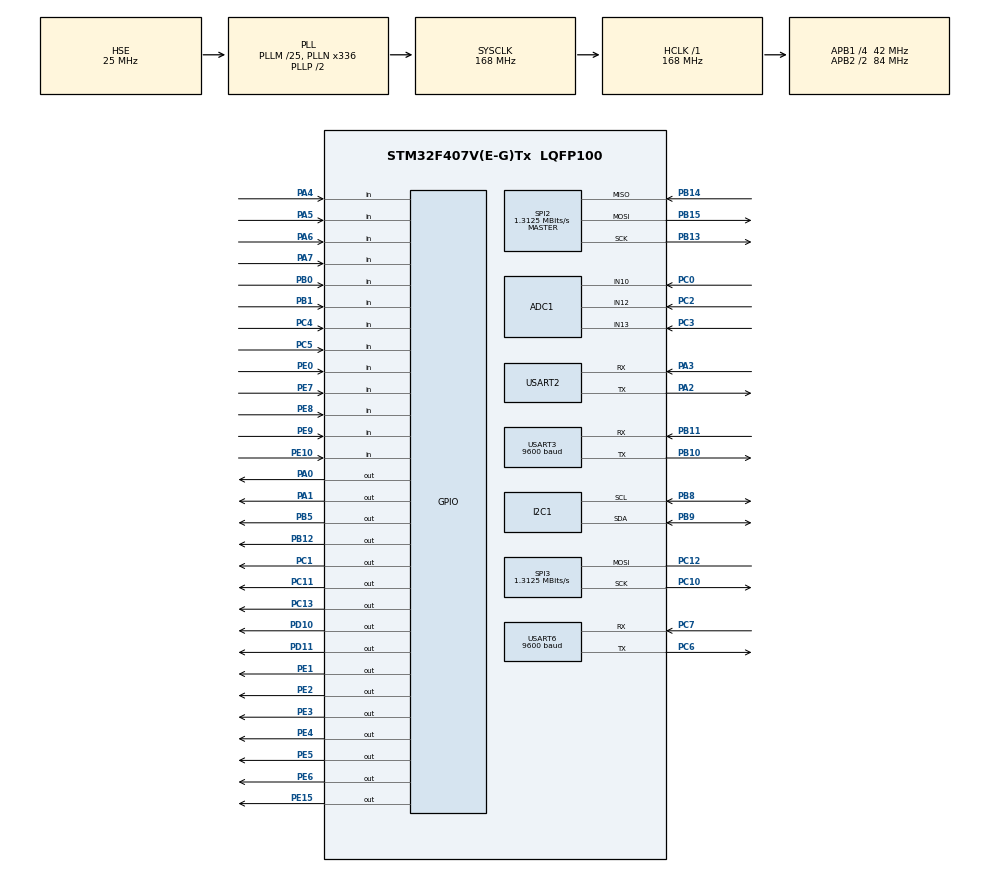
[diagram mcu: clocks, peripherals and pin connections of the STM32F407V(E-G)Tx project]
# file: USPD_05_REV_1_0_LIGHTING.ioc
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ADC1.Channel-0\#ChannelRegularConversion=ADC_CHANNEL_10
ADC1.Channel-1\#ChannelRegularConversion=ADC_CHANNEL_12
ADC1.Channel-2\#ChannelRegularConversion=ADC_CHANNEL_13
ADC1.NbrOfConversion=3
ADC1.NbrOfConversionFlag=1
ADC1.Rank-0\#ChannelRegularConversion=1
ADC1.Rank-1\#ChannelRegularConversion=2
ADC1.Rank-2\#ChannelRegularConversion=3
ADC1.SamplingTime-0\#ChannelRegularConversion=ADC_SAMPLETIME_3CYCLES
ADC1.SamplingTime-1\#ChannelRegularConversion=ADC_SAMPLETIME_3CYCLES
ADC1.SamplingTime-2\#ChannelRegularConversion=ADC_SAMPLETIME_3CYCLES
ADC1.ScanConvMode=ENABLE
ADC1.master=1
Dma.ADC1.4.Direction=DMA_PERIPH_TO_MEMORY
Dma.ADC1.4.FIFOMode=DMA_FIFOMODE_DISABLE
Dma.ADC1.4.Instance=DMA2_Stream0
Dma.ADC1.4.MemDataAlignment=DMA_MDATAALIGN_HALFWORD
Dma.ADC1.4.MemInc=DMA_MINC_ENABLE
Dma.ADC1.4.Mode=DMA_NORMAL
Dma.ADC1.4.PeriphDataAlignment=DMA_PDATAALIGN_HALFWORD
Dma.ADC1.4.PeriphInc=DMA_PINC_DISABLE
Dma.ADC1.4.Priority=DMA_PRIORITY_LOW
Dma.Request0=USART3_TX
Dma.Request1=USART3_RX
Dma.Request2=USART6_TX
Dma.Request3=USART6_RX
Dma.Request4=ADC1
Dma.USART3_RX.1.Direction=DMA_PERIPH_TO_MEMORY
Dma.USART3_RX.1.FIFOMode=DMA_FIFOMODE_DISABLE
Dma.USART3_RX.1.Instance=DMA1_Stream1
Dma.USART3_RX.1.MemDataAlignment=DMA_MDATAALIGN_BYTE
Dma.USART3_RX.1.MemInc=DMA_MINC_ENABLE
Dma.USART3_RX.1.Mode=DMA_NORMAL
Dma.USART3_RX.1.PeriphDataAlignment=DMA_PDATAALIGN_BYTE
Dma.USART3_RX.1.PeriphInc=DMA_PINC_DISABLE
Dma.USART3_RX.1.Priority=DMA_PRIORITY_LOW
Dma.USART3_TX.0.Direction=DMA_MEMORY_TO_PERIPH
Dma.USART3_TX.0.FIFOMode=DMA_FIFOMODE_DISABLE
Dma.USART3_TX.0.Instance=DMA1_Stream3
Dma.USART3_TX.0.MemDataAlignment=DMA_MDATAALIGN_BYTE
Dma.USART3_TX.0.MemInc=DMA_MINC_ENABLE
Dma.USART3_TX.0.Mode=DMA_NORMAL
Dma.USART3_TX.0.PeriphDataAlignment=DMA_PDATAALIGN_BYTE
Dma.USART3_TX.0.PeriphInc=DMA_PINC_DISABLE
Dma.USART3_TX.0.Priority=DMA_PRIORITY_LOW
Dma.USART6_RX.3.Direction=DMA_PERIPH_TO_MEMORY
Dma.USART6_RX.3.FIFOMode=DMA_FIFOMODE_DISABLE
Dma.USART6_RX.3.Instance=DMA2_Stream1
Dma.USART6_RX.3.MemDataAlignment=DMA_MDATAALIGN_BYTE
Dma.USART6_RX.3.MemInc=DMA_MINC_ENABLE
Dma.USART6_RX.3.Mode=DMA_NORMAL
Dma.USART6_RX.3.PeriphDataAlignment=DMA_PDATAALIGN_BYTE
Dma.USART6_RX.3.PeriphInc=DMA_PINC_DISABLE
Dma.USART6_RX.3.Priority=DMA_PRIORITY_LOW
Dma.USART6_TX.2.Direction=DMA_MEMORY_TO_PERIPH
Dma.USART6_TX.2.FIFOMode=DMA_FIFOMODE_DISABLE
Dma.USART6_TX.2.Instance=DMA2_Stream6
Dma.USART6_TX.2.MemDataAlignment=DMA_MDATAALIGN_BYTE
Dma.USART6_TX.2.MemInc=DMA_MINC_ENABLE
Dma.USART6_TX.2.Mode=DMA_NORMAL
Dma.USART6_TX.2.PeriphDataAlignment=DMA_PDATAALIGN_BYTE
Dma.USART6_TX.2.PeriphInc=DMA_PINC_DISABLE
Dma.USART6_TX.2.Priority=DMA_PRIORITY_LOW
FREERTOS.INCLUDE_vTaskCleanUpResources=1
FREERTOS.INCLUDE_vTaskDelayUntil=1
FREERTOS.INCLUDE_xQueueGetMutexHolder=1
FREERTOS.INCLUDE_xSemaphoreGetMutexHolder=1
FREERTOS.Tasks01=defaultTask,0,128,StartDefaultTask,Default,NULL,Dynamic,NULL,NULL
FREERTOS.configTIMER_TASK_PRIORITY=5
FREERTOS.configTOTAL_HEAP_SIZE=30000
FREERTOS.configUSE_NEWLIB_REENTRANT=1
FREERTOS.configUSE_TIMERS=1
IWDG.Prescaler=IWDG_PRESCALER_32
IWDG.Reload=4000
Mcu.Family=STM32F4
Mcu.Name=STM32F407V(E-G)Tx
Mcu.Package=LQFP100
NVIC.ADC_IRQn=true\:5\:0\:false\:false\:true\:true\:true\:true\:true
NVIC.DMA1_Stream1_IRQn=true\:5\:0\:false\:false\:true\:true\:false\:true\:true
NVIC.DMA1_Stream3_IRQn=true\:5\:0\:false\:false\:true\:true\:false\:true\:true
NVIC.DMA2_Stream0_IRQn=true\:5\:0\:false\:false\:true\:true\:false\:true\:true
NVIC.DMA2_Stream1_IRQn=true\:5\:0\:false\:false\:true\:true\:false\:true\:true
NVIC.DMA2_Stream6_IRQn=true\:5\:0\:false\:false\:true\:true\:false\:true\:true
NVIC.PriorityGroup=NVIC_PRIORITYGROUP_4
NVIC.TIM1_UP_TIM10_IRQn=true\:15\:0\:false\:false\:true\:false\:false\:true\:true
NVIC.TIM2_IRQn=true\:5\:0\:false\:false\:true\:true\:true\:true\:true
NVIC.TIM3_IRQn=true\:5\:0\:false\:false\:true\:true\:true\:true\:true
NVIC.TimeBase=TIM1_UP_TIM10_IRQn
NVIC.TimeBaseIP=TIM1
NVIC.USART3_IRQn=true\:5\:0\:false\:false\:true\:true\:true\:true\:true
NVIC.USART6_IRQn=true\:5\:0\:false\:false\:true\:true\:true\:true\:true
PA0-WKUP.Signal=GPIO_Output
PA1.Signal=GPIO_Output
PA13.Mode=Serial_Wire
PA13.Signal=SYS_JTMS-SWDIO
PA14.Mode=Serial_Wire
PA14.Signal=SYS_JTCK-SWCLK
PA2.Mode=Asynchronous
PA2.Signal=USART2_TX
PA3.Mode=Asynchronous
PA3.Signal=USART2_RX
PA4.Signal=GPIO_Input
PA5.Signal=GPIO_Input
PA6.Signal=GPIO_Input
PA7.Signal=GPIO_Input
PB0.Signal=GPIO_Input
PB1.Signal=GPIO_Input
PB10.Mode=Asynchronous
PB10.Signal=USART3_TX
PB11.Mode=Asynchronous
PB11.Signal=USART3_RX
PB12.Signal=GPIO_Output
PB13.Mode=Full_Duplex_Master
PB13.Signal=SPI2_SCK
PB14.Mode=Full_Duplex_Master
PB14.Signal=SPI2_MISO
PB15.Mode=Full_Duplex_Master
PB15.Signal=SPI2_MOSI
PB5.Signal=GPIO_Output
PB8.Mode=I2C
PB8.Signal=I2C1_SCL
PB9.Mode=I2C
PB9.Signal=I2C1_SDA
PC0.Signal=ADCx_IN10
PC1.Signal=GPIO_Output
PC10.Mode=Simplex_Bidirectional_Master
PC10.Signal=SPI3_SCK
PC11.PinState=GPIO_PIN_SET
PC11.Signal=GPIO_Output
PC12.Mode=Simplex_Bidirectional_Master
PC12.Signal=SPI3_MOSI
PC13-ANTI_TAMP.Signal=GPIO_Output
PC14-OSC32_IN.Mode=LSE-External-Oscillator
PC14-OSC32_IN.Signal=RCC_OSC32_IN
PC15-OSC32_OUT.Mode=LSE-External-Oscillator
PC15-OSC32_OUT.Signal=RCC_OSC32_OUT
PC2.Signal=ADCx_IN12
PC3.Signal=ADCx_IN13
PC4.Signal=GPIO_Input
PC5.Signal=GPIO_Input
PC6.Mode=Asynchronous
PC6.Signal=USART6_TX
PC7.Mode=Asynchronous
PC7.Signal=USART6_RX
PD10.GPIO_PuPd=GPIO_PULLDOWN
PD10.Signal=GPIO_Output
PD11.GPIO_PuPd=GPIO_PULLDOWN
PD11.Signal=GPIO_Output
PE0.Signal=GPIO_Input
PE1.Signal=GPIO_Output
PE10.Signal=GPIO_Input
PE15.Signal=GPIO_Output
PE2.Signal=GPIO_Output
PE3.Signal=GPIO_Output
PE4.Signal=GPIO_Output
PE5.Signal=GPIO_Output
PE6.Signal=GPIO_Output
PE7.Signal=GPIO_Input
PE8.Signal=GPIO_Input
PE9.Signal=GPIO_Input
PH0-OSC_IN.Mode=HSE-External-Oscillator
PH0-OSC_IN.Signal=RCC_OSC_IN
PH1-OSC_OUT.Mode=HSE-External-Oscillator
PH1-OSC_OUT.Signal=RCC_OSC_OUT
ProjectManager.HeapSize=0x200
ProjectManager.StackSize=0x400
ProjectManager.TargetToolchain=STM32CubeIDE
RCC.48MHZClocksFreq_Value=84000000
RCC.AHBFreq_Value=168000000
RCC.APB1CLKDivider=RCC_HCLK_DIV4
RCC.APB1Freq_Value=42000000
RCC.APB1TimFreq_Value=84000000
RCC.APB2CLKDivider=RCC_HCLK_DIV2
RCC.APB2Freq_Value=84000000
RCC.APB2TimFreq_Value=168000000
RCC.CortexFreq_Value=168000000
RCC.HCLKFreq_Value=168000000
RCC.HSE_VALUE=25000000
RCC.HSI_VALUE=16000000
RCC.PLLM=25
RCC.PLLN=336
RCC.PLLSourceVirtual=RCC_PLLSOURCE_HSE
RCC.RCC_RTC_Clock_Source=RCC_RTCCLKSOURCE_LSE
RCC.SYSCLKFreq_VALUE=168000000
RCC.SYSCLKSource=RCC_SYSCLKSOURCE_PLLCLK
RCC.VCOOutputFreq_Value=336000000
SH.ADCx_IN10.0=ADC1_IN10,IN10
SH.ADCx_IN12.0=ADC1_IN12,IN12
SH.ADCx_IN13.0=ADC1_IN13,IN13
SPI2.BaudRatePrescaler=SPI_BAUDRATEPRESCALER_32
SPI2.CalculateBaudRate=1.3125 MBits/s
SPI2.Direction=SPI_DIRECTION_2LINES
SPI2.Mode=SPI_MODE_MASTER
SPI2.VirtualType=VM_MASTER
SPI3.BaudRatePrescaler=SPI_BAUDRATEPRESCALER_32
SPI3.CalculateBaudRate=1.3125 MBits/s
SPI3.Direction=SPI_DIRECTION_1LINE
SPI3.Mode=SPI_MODE_MASTER
SPI3.VirtualType=VM_MASTER
TIM2.Period=999
TIM2.Prescaler=83
TIM3.Period=8399
USART2.VirtualMode=VM_ASYNC
USART3.BaudRate=9600
USART3.VirtualMode=VM_ASYNC
USART6.BaudRate=9600
USART6.Parity=PARITY_EVEN
USART6.VirtualMode=VM_ASYNC
VP_FREERTOS_VS_CMSIS_V1.Mode=CMSIS_V1
VP_IWDG_VS_IWDG.Mode=IWDG_Activate
VP_RTC_VS_RTC_Activate.Mode=RTC_Enabled
VP_RTC_VS_RTC_Calendar.Mode=RTC_Calendar
VP_SYS_VS_tim1.Mode=TIM1
VP_TIM2_VS_ClockSourceINT.Mode=Internal
VP_TIM3_VS_ClockSourceINT.Mode=Internal
board=custom

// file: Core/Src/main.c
/* USER CODE BEGIN Header */
/**
  ******************************************************************************
  * @file           : main.c
  * @brief          : Main program body
  ******************************************************************************
  * @attention
  *
  * Copyright (c) 2024 STMicroelectronics.
  * All rights reserved.
  *
  * This software is licensed under terms that can be found in the LICENSE file
  * in the root directory of this software component.
  * If no LICENSE file comes with this software, it is provided AS-IS.
  *
  ******************************************************************************
  */
/* USER CODE END Header */
#include "main.h"
#include "cmsis_os.h"

/* USER CODE BEGIN Includes */

#include "gpio.h"
#include "m95.h"
#include "tsl2561.h"
#include "modbus.h"
#include "fm25v02.h"
#include "da04_11gwa.h"

/* USER CODE END Includes */

 ADC_HandleTypeDef hadc1;
DMA_HandleTypeDef hdma_adc1;

I2C_HandleTypeDef hi2c1;

IWDG_HandleTypeDef hiwdg;

RTC_HandleTypeDef hrtc;

SPI_HandleTypeDef hspi2;
SPI_HandleTypeDef hspi3;

TIM_HandleTypeDef htim2;
TIM_HandleTypeDef htim3;

UART_HandleTypeDef huart2;
UART_HandleTypeDef huart3;
UART_HandleTypeDef huart6;
DMA_HandleTypeDef hdma_usart3_tx;
DMA_HandleTypeDef hdma_usart3_rx;
DMA_HandleTypeDef hdma_usart6_tx;
DMA_HandleTypeDef hdma_usart6_rx;

osThreadId defaultTaskHandle;
/* USER CODE BEGIN PV */

osMessageQId ModbusQueueHandle;
osMessageQId MeterQueueHandle;

osTimerId AT_TimerHandle;
osTimerId Ring_Center_TimerHandle;

osMutexId UartMutexHandle;
osMutexId Fm25v02MutexHandle;

osSemaphoreId TransmissionStateHandle;
osSemaphoreId ReceiveStateHandle;
osSemaphoreId RS485TransmissionStateHandle;

osThreadId M95TaskHandle;
osThreadId ModbusTaskHandle;
osThreadId MainTaskHandle;
osThreadId ModbusPacketTaskHandle;
osThreadId ReadRegistersTaskHandle;
osThreadId EventWriteTaskHandle;
osThreadId GetCurrentTaskHandle;
osThreadId MeterTaskHandle;
osThreadId MeterPacketTaskHandle;
osThreadId DisplayTaskHandle;
osThreadId CallRingCenterTaskHandle;

osSemaphoreId ModbusPacketReceiveHandle;
//osSemaphoreId CallRingCenterHandle;

volatile uint8_t security_state = 0x00;
RTC_TimeTypeDef security_time;
RTC_DateTypeDef security_date;

uint8_t flash[20];
uint8_t flash1[20];

uint8_t modem_tx_data[256];
uint8_t modem_rx_data[256];
char modem_rx_buffer[256];
uint8_t modbus_buffer[20][256];
uint8_t modem_rx_number = 0;
uint8_t modbus_buffer_number = 0;

volatile uint8_t read_rx_state;

//extern control_register_struct control_registers;

uint8_t meter_data[256];
uint8_t meter_rx_buffer[256];
uint8_t meter_rx_number = 0;

extern uint16_t data_in[3];
volatile uint32_t cur_data[3] = {0,0,0};
volatile uint16_t cur_counter = 0;
volatile uint32_t cur_a_average;
volatile uint32_t cur_b_average;
volatile uint32_t cur_c_average;
volatile uint32_t cur_a;
volatile uint32_t cur_b;
volatile uint32_t cur_c;

double data_lux;
bool gain=0;        // Gain setting, 0 = X1, 1 = X16;
unsigned char time = 2;
unsigned int ms;
unsigned int data0, data2;
double lux;    // Resulting lux value

extern control_register_struct control_registers;

volatile uint16_t key1_state = 0;
volatile uint8_t key1_on_state = 0;
volatile uint8_t key1_press_state = 0;

volatile uint16_t key2_state = 0;
volatile uint8_t key2_on_state = 0;
volatile uint8_t key2_press_state = 0;

volatile uint16_t key3_state = 0;
volatile uint8_t key3_on_state = 0;
volatile uint8_t key3_press_state = 0;

volatile uint16_t key4_state = 0;
volatile uint8_t key4_on_state = 0;
volatile uint8_t key4_press_state = 0;

volatile uint16_t key_speed = 0;
volatile uint16_t key_delay = 200;

volatile uint8_t key1_off_state = 0;
volatile uint8_t key2_off_state = 0;

volatile uint16_t reset_display_time_state = 30001;

extern volatile uint8_t control_register_increment_state;
extern volatile uint8_t control_register_decrement_state;
extern volatile uint8_t control_register_save_state;

extern volatile uint16_t register_menu_state;
extern volatile uint16_t register_content_menu_state;

extern uint8_t spi_buf[4];

/* USER CODE END PV */

void SystemClock_Config(void);
static void MX_GPIO_Init(void);
static void MX_IWDG_Init(void);
static void MX_DMA_Init(void);
static void MX_SPI2_Init(void);
static void MX_USART2_UART_Init(void);
static void MX_USART3_UART_Init(void);
static void MX_RTC_Init(void);
static void MX_USART6_UART_Init(void);
static void MX_I2C1_Init(void);
static void MX_SPI3_Init(void);
static void MX_ADC1_Init(void);
static void MX_TIM2_Init(void);
static void MX_TIM3_Init(void);
void StartDefaultTask(void const * argument);

/* USER CODE BEGIN PFP */

void Callback_AT_Timer(void const * argument);
void Callback_Ring_Center_Timer(void const * argument);

void ThreadIbuttonTask(void const * argument);
void ThreadSecurityTask(void const * argument);
void ThreadM95Task(void const * argument);
void ThreadModbusTask(void const * argument);
void ThreadMainTask(void const * argument);
void ThreadModbusPacketTask(void const * argument);
void ThreadCallRingCenterTask(void const * argument);
void ThreadLedTask(void const * argument);
void ThreadArmingTask(void const * argument);
void ThreadReadRegistersTask(void const * argument);
void ThreadEventWriteTask(void const * argument);
void ThreadGetCurrentTask(void const * argument);
void ThreadMeterTask(void const * argument);
void ThreadMeterPacketTask(void const * argument);
void ThreadDisplayTask(void const * argument);

/* USER CODE END PFP */

/* USER CODE BEGIN 0 */

void HAL_UART_TxCpltCallback(UART_HandleTypeDef *huart)
{
	  if (huart->Instance == USART3)
	  {
		  osSemaphoreRelease(TransmissionStateHandle);
	  }

	  if (huart->Instance == USART6)
	  {
		  //LED8_TOGGLE();
		  osSemaphoreRelease(RS485TransmissionStateHandle);
		  HAL_GPIO_WritePin(GPIOG, GPIO_PIN_10, GPIO_PIN_RESET); // устанавливаем микросхему на прием
		  HAL_UART_Receive_DMA(&huart6, &meter_data[0], 1); // включаем прием со счетчика

	  }

}

void HAL_UART_RxCpltCallback(UART_HandleTypeDef *huart)
{

	  if (huart->Instance == USART3)
	  {
		  //LED_VD5_TOGGLE();
		  modem_rx_buffer[modem_rx_number++] = modem_rx_data[0];
		  osMessagePut(ModbusQueueHandle, (uint32_t)modem_rx_data[0], 2000);
		  HAL_UART_Receive_DMA(&huart3, &modem_rx_data[0], 1);
	  }

	  if (huart->Instance == USART6)
	  {
		  //LED7_TOGGLE();
		  meter_data[0] = meter_data[0]&0x7F;
		  meter_rx_buffer[meter_rx_number++] = meter_data[0];
		  HAL_GPIO_WritePin(GPIOG, GPIO_PIN_10, GPIO_PIN_RESET); // устанавливаем микросхему на прием
		  HAL_UART_Receive_DMA(&huart6, &meter_data[0], 1); // включаем прием со счетчика

		  //if(meter_rx_number>10){meter_rx_number=0;}

	  }

}

void HAL_ADC_ConvCpltCallback(ADC_HandleTypeDef* hadc)
{
  if(hadc->Instance == ADC1)
  {
	//LED_VD5_TOGGLE();

	cur_data[0] = cur_data[0] + data_in[0];
	cur_data[1] = cur_data[1] + data_in[1];
	cur_data[2] = cur_data[2] + data_in[2];

	cur_counter++;

	if(cur_counter>=100)
	{
		cur_counter=0;

		cur_a_average = cur_data[0]/100;
		cur_b_average = cur_data[1]/100;
		cur_c_average = cur_data[2]/100;

		cur_data[0] = 0;
		cur_data[1] = 0;
		cur_data[2] = 0;

		cur_a = cur_a_average*283/4095; // 283 1300
		cur_b = cur_b_average*283/4095; // 283 1300
		cur_c = cur_c_average*283/4095; // 283 1300

	}

	//osThreadResume(GetCurrentTaskHandle);
    //for (uint8_t i = 0; i < ADC_CHANNELS_NUM; i++)
    //{
      //adcVoltage[i] = adcData[i] * 3.3 / 4095;
    //}
  }
}

/* USER CODE END 0 */

int main(void)
{

  /* MCU Configuration--------------------------------------------------------*/

  /* Reset of all peripherals, Initializes the Flash interface and the Systick. */
  HAL_Init();

  /* Configure the system clock */
  SystemClock_Config();

  /* Initialize all configured peripherals */
  MX_GPIO_Init();
  MX_IWDG_Init();
  MX_DMA_Init();
  MX_SPI2_Init();
  MX_USART2_UART_Init();
  MX_USART3_UART_Init();
  MX_RTC_Init();
  MX_USART6_UART_Init();
  MX_I2C1_Init();
  MX_SPI3_Init();
  MX_ADC1_Init();
  MX_TIM2_Init();
  MX_TIM3_Init();
  /* USER CODE BEGIN 2 */

  BUZ_ON();
  HAL_Delay(50);
  BUZ_OFF();

  if( ((RCC->BDCR)&0x02) != 0 ) // Проверяем, запустился ли часовой кварц, если запустился включаем светодиод
  {
	  LED_VD4_ON();
  }
  else
  {
	  LED_VD4_OFF();
  }

  TSL2561_setTiming_ms(gain, time,&ms);
  TSL2561_setPowerUp();

  /* USER CODE END 2 */

  /* USER CODE BEGIN RTOS_MUTEX */
  /* add mutexes, ... */

  osMutexDef(UartMutex);
  UartMutexHandle = osMutexCreate(osMutex(UartMutex));

  osMutexDef(Fm25v02Mutex);
  Fm25v02MutexHandle = osMutexCreate(osMutex(Fm25v02Mutex));

  /* USER CODE END RTOS_MUTEX */

  /* USER CODE BEGIN RTOS_SEMAPHORES */
  /* add semaphores, ... */

  osSemaphoreDef(TransmissionState);
  TransmissionStateHandle = osSemaphoreCreate(osSemaphore(TransmissionState), 1);

  osSemaphoreDef(ReceiveState);
  ReceiveStateHandle = osSemaphoreCreate(osSemaphore(ReceiveState), 1);

  osSemaphoreDef(RS485TransmissionState);
  RS485TransmissionStateHandle = osSemaphoreCreate(osSemaphore(RS485TransmissionState), 1);

  osSemaphoreDef(ModbusPacketReceive);
  ModbusPacketReceiveHandle = osSemaphoreCreate(osSemaphore(ModbusPacketReceive), 1);

  /* USER CODE END RTOS_SEMAPHORES */

  /* USER CODE BEGIN RTOS_TIMERS */
  /* start timers, add new ones, ... */

  osTimerDef(AT_Timer, Callback_AT_Timer);
  AT_TimerHandle = osTimerCreate(osTimer(AT_Timer), osTimerOnce, NULL);

  osTimerDef(Ring_Center_Timer, Callback_Ring_Center_Timer);
  Ring_Center_TimerHandle = osTimerCreate(osTimer(Ring_Center_Timer), osTimerOnce, NULL);

  /* USER CODE END RTOS_TIMERS */

  /* USER CODE BEGIN RTOS_QUEUES */
  /* add queues, ... */

  osMessageQDef(ModbusQueue, 256, uint8_t);
  ModbusQueueHandle = osMessageCreate(osMessageQ(ModbusQueue), NULL);

  osMessageQDef(MeterQueue, 256, uint8_t);
  MeterQueueHandle = osMessageCreate(osMessageQ(MeterQueue), NULL);

  /* USER CODE END RTOS_QUEUES */

  /* Create the thread(s) */
  /* definition and creation of defaultTask */
  osThreadDef(defaultTask, StartDefaultTask, osPriorityNormal, 0, 128);
  defaultTaskHandle = osThreadCreate(osThread(defaultTask), NULL);

  /* USER CODE BEGIN RTOS_THREADS */
  /* add threads, ... */

  osThreadDef(M95Task, ThreadM95Task, osPriorityNormal, 0, 128);
  M95TaskHandle = osThreadCreate(osThread(M95Task), NULL);

  osThreadDef(ModbusTask, ThreadModbusTask, osPriorityNormal, 0, 128);
  ModbusTaskHandle = osThreadCreate(osThread(ModbusTask), NULL);

  osThreadDef(MainTask, ThreadMainTask, osPriorityNormal, 0, 128);
  MainTaskHandle = osThreadCreate(osThread(MainTask), NULL);

  osThreadDef(ModbusPacketTask, ThreadModbusPacketTask, osPriorityNormal, 0, 128);
  ModbusPacketTaskHandle = osThreadCreate(osThread(ModbusPacketTask), NULL);

  osThreadDef(ReadRegistersTask, ThreadReadRegistersTask, osPriorityNormal, 0, 128);
  ReadRegistersTaskHandle = osThreadCreate(osThread(ReadRegistersTask), NULL);

  osThreadDef(EventWriteTask, ThreadEventWriteTask, osPriorityNormal, 0, 128);
  EventWriteTaskHandle = osThreadCreate(osThread(EventWriteTask), NULL);

  osThreadDef(GetCurrentTask, ThreadGetCurrentTask, osPriorityNormal, 0, 128);
  GetCurrentTaskHandle = osThreadCreate(osThread(GetCurrentTask), NULL);

  osThreadDef(MeterTask, ThreadMeterTask, osPriorityNormal, 0, 128);
  MeterTaskHandle = osThreadCreate(osThread(MeterTask), NULL);

  osThreadDef(DisplayTask, ThreadDisplayTask, osPriorityNormal, 0, 128);
  DisplayTaskHandle = osThreadCreate(osThread(DisplayTask), NULL);

  osThreadDef(CallRingCenterTask, ThreadCallRingCenterTask, osPriorityNormal, 0, 128);
  CallRingCenterTaskHandle = osThreadCreate(osThread(CallRingCenterTask), NULL);

  /* USER CODE END RTOS_THREADS */

  /* Start scheduler */
  osKernelStart();

  /* We should never get here as control is now taken by the scheduler */
  /* Infinite loop */
  while (1)
  {

  }
}

void SystemClock_Config(void)
{
  RCC_OscInitTypeDef RCC_OscInitStruct = {0};
  RCC_ClkInitTypeDef RCC_ClkInitStruct = {0};

  /** Configure the main internal regulator output voltage
  */
  __HAL_RCC_PWR_CLK_ENABLE();
  __HAL_PWR_VOLTAGESCALING_CONFIG(PWR_REGULATOR_VOLTAGE_SCALE1);

  /** Initializes the RCC Oscillators according to the specified parameters
  * in the RCC_OscInitTypeDef structure.
  */
  RCC_OscInitStruct.OscillatorType = RCC_OSCILLATORTYPE_LSI|RCC_OSCILLATORTYPE_HSE
                              |RCC_OSCILLATORTYPE_LSE;
  RCC_OscInitStruct.HSEState = RCC_HSE_ON;
  RCC_OscInitStruct.LSEState = RCC_LSE_ON;
  RCC_OscInitStruct.LSIState = RCC_LSI_ON;
  RCC_OscInitStruct.PLL.PLLState = RCC_PLL_ON;
  RCC_OscInitStruct.PLL.PLLSource = RCC_PLLSOURCE_HSE;
  RCC_OscInitStruct.PLL.PLLM = 25;
  RCC_OscInitStruct.PLL.PLLN = 336;
  RCC_OscInitStruct.PLL.PLLP = RCC_PLLP_DIV2;
  RCC_OscInitStruct.PLL.PLLQ = 4;
  if (HAL_RCC_OscConfig(&RCC_OscInitStruct) != HAL_OK)
  {
    Error_Handler();
  }

  /** Initializes the CPU, AHB and APB buses clocks
  */
  RCC_ClkInitStruct.ClockType = RCC_CLOCKTYPE_HCLK|RCC_CLOCKTYPE_SYSCLK
                              |RCC_CLOCKTYPE_PCLK1|RCC_CLOCKTYPE_PCLK2;
  RCC_ClkInitStruct.SYSCLKSource = RCC_SYSCLKSOURCE_PLLCLK;
  RCC_ClkInitStruct.AHBCLKDivider = RCC_SYSCLK_DIV1;
  RCC_ClkInitStruct.APB1CLKDivider = RCC_HCLK_DIV4;
  RCC_ClkInitStruct.APB2CLKDivider = RCC_HCLK_DIV2;

  if (HAL_RCC_ClockConfig(&RCC_ClkInitStruct, FLASH_LATENCY_5) != HAL_OK)
  {
    Error_Handler();
  }
}

static void MX_ADC1_Init(void)
{

  ADC_ChannelConfTypeDef sConfig = {0};

  /** Configure the global features of the ADC (Clock, Resolution, Data Alignment and number of conversion)
  */
  hadc1.Instance = ADC1;
  hadc1.Init.ClockPrescaler = ADC_CLOCK_SYNC_PCLK_DIV4;
  hadc1.Init.Resolution = ADC_RESOLUTION_12B;
  hadc1.Init.ScanConvMode = ENABLE;
  hadc1.Init.ContinuousConvMode = DISABLE;
  hadc1.Init.DiscontinuousConvMode = DISABLE;
  hadc1.Init.ExternalTrigConvEdge = ADC_EXTERNALTRIGCONVEDGE_NONE;
  hadc1.Init.ExternalTrigConv = ADC_SOFTWARE_START;
  hadc1.Init.DataAlign = ADC_DATAALIGN_RIGHT;
  hadc1.Init.NbrOfConversion = 3;
  hadc1.Init.DMAContinuousRequests = DISABLE;
  hadc1.Init.EOCSelection = ADC_EOC_SINGLE_CONV;
  if (HAL_ADC_Init(&hadc1) != HAL_OK)
  {
    Error_Handler();
  }

  /** Configure for the selected ADC regular channel its corresponding rank in the sequencer and its sample time.
  */
  sConfig.Channel = ADC_CHANNEL_10;
  sConfig.Rank = 1;
  sConfig.SamplingTime = ADC_SAMPLETIME_3CYCLES;
  if (HAL_ADC_ConfigChannel(&hadc1, &sConfig) != HAL_OK)
  {
    Error_Handler();
  }

  /** Configure for the selected ADC regular channel its corresponding rank in the sequencer and its sample time.
  */
  sConfig.Channel = ADC_CHANNEL_12;
  sConfig.Rank = 2;
  if (HAL_ADC_ConfigChannel(&hadc1, &sConfig) != HAL_OK)
  {
    Error_Handler();
  }

  /** Configure for the selected ADC regular channel its corresponding rank in the sequencer and its sample time.
  */
  sConfig.Channel = ADC_CHANNEL_13;
  sConfig.Rank = 3;
  if (HAL_ADC_ConfigChannel(&hadc1, &sConfig) != HAL_OK)
  {
    Error_Handler();
  }

}

static void MX_I2C1_Init(void)
{

  hi2c1.Instance = I2C1;
  hi2c1.Init.ClockSpeed = 100000;
  hi2c1.Init.DutyCycle = I2C_DUTYCYCLE_2;
  hi2c1.Init.OwnAddress1 = 0;
  hi2c1.Init.AddressingMode = I2C_ADDRESSINGMODE_7BIT;
  hi2c1.Init.DualAddressMode = I2C_DUALADDRESS_DISABLE;
  hi2c1.Init.OwnAddress2 = 0;
  hi2c1.Init.GeneralCallMode = I2C_GENERALCALL_DISABLE;
  hi2c1.Init.NoStretchMode = I2C_NOSTRETCH_DISABLE;
  if (HAL_I2C_Init(&hi2c1) != HAL_OK)
  {
    Error_Handler();
  }

}

static void MX_IWDG_Init(void)
{

  hiwdg.Instance = IWDG;
  hiwdg.Init.Prescaler = IWDG_PRESCALER_32;
  hiwdg.Init.Reload = 4000;
  //if (HAL_IWDG_Init(&hiwdg) != HAL_OK)
  //{
    //Error_Handler();
  //}

}

static void MX_RTC_Init(void)
{

  RTC_TimeTypeDef sTime = {0};
  RTC_DateTypeDef sDate = {0};

  /** Initialize RTC Only
  */
  hrtc.Instance = RTC;
  hrtc.Init.HourFormat = RTC_HOURFORMAT_24;
  hrtc.Init.AsynchPrediv = 127;
  hrtc.Init.SynchPrediv = 255;
  hrtc.Init.OutPut = RTC_OUTPUT_DISABLE;
  hrtc.Init.OutPutPolarity = RTC_OUTPUT_POLARITY_HIGH;
  hrtc.Init.OutPutType = RTC_OUTPUT_TYPE_OPENDRAIN;
  if (HAL_RTC_Init(&hrtc) != HAL_OK)
  {
    Error_Handler();
  }

  /** Initialize RTC and set the Time and Date
  */
  sTime.Hours = 0x0;
  sTime.Minutes = 0x0;
  sTime.Seconds = 0x0;
  sTime.DayLightSaving = RTC_DAYLIGHTSAVING_NONE;
  sTime.StoreOperation = RTC_STOREOPERATION_RESET;
  //if (HAL_RTC_SetTime(&hrtc, &sTime, RTC_FORMAT_BCD) != HAL_OK)
  //{
    //Error_Handler();
  //}
  sDate.WeekDay = RTC_WEEKDAY_MONDAY;
  sDate.Month = RTC_MONTH_JANUARY;
  sDate.Date = 0x1;
  sDate.Year = 0x0;

  //if (HAL_RTC_SetDate(&hrtc, &sDate, RTC_FORMAT_BCD) != HAL_OK)
  //{
    //Error_Handler();
  //}

}

static void MX_SPI2_Init(void)
{

  /* SPI2 parameter configuration*/
  hspi2.Instance = SPI2;
  hspi2.Init.Mode = SPI_MODE_MASTER;
  hspi2.Init.Direction = SPI_DIRECTION_2LINES;
  hspi2.Init.DataSize = SPI_DATASIZE_8BIT;
  hspi2.Init.CLKPolarity = SPI_POLARITY_LOW;
  hspi2.Init.CLKPhase = SPI_PHASE_1EDGE;
  hspi2.Init.NSS = SPI_NSS_SOFT;
  hspi2.Init.BaudRatePrescaler = SPI_BAUDRATEPRESCALER_32;
  hspi2.Init.FirstBit = SPI_FIRSTBIT_MSB;
  hspi2.Init.TIMode = SPI_TIMODE_DISABLE;
  hspi2.Init.CRCCalculation = SPI_CRCCALCULATION_DISABLE;
  hspi2.Init.CRCPolynomial = 10;
  if (HAL_SPI_Init(&hspi2) != HAL_OK)
  {
    Error_Handler();
  }

}

static void MX_SPI3_Init(void)
{

  /* SPI3 parameter configuration*/
  hspi3.Instance = SPI3;
  hspi3.Init.Mode = SPI_MODE_MASTER;
  hspi3.Init.Direction = SPI_DIRECTION_1LINE;
  hspi3.Init.DataSize = SPI_DATASIZE_8BIT;
  hspi3.Init.CLKPolarity = SPI_POLARITY_LOW;
  hspi3.Init.CLKPhase = SPI_PHASE_1EDGE;
  hspi3.Init.NSS = SPI_NSS_SOFT;
  hspi3.Init.BaudRatePrescaler = SPI_BAUDRATEPRESCALER_32;
  hspi3.Init.FirstBit = SPI_FIRSTBIT_MSB;
  hspi3.Init.TIMode = SPI_TIMODE_DISABLE;
  hspi3.Init.CRCCalculation = SPI_CRCCALCULATION_DISABLE;
  hspi3.Init.CRCPolynomial = 10;
  if (HAL_SPI_Init(&hspi3) != HAL_OK)
  {
    Error_Handler();
  }

}

static void MX_TIM2_Init(void)
{

  TIM_ClockConfigTypeDef sClockSourceConfig = {0};
  TIM_MasterConfigTypeDef sMasterConfig = {0};

  htim2.Instance = TIM2;
  htim2.Init.Prescaler = 83;
  htim2.Init.CounterMode = TIM_COUNTERMODE_UP;
  htim2.Init.Period = 999;
  htim2.Init.ClockDivision = TIM_CLOCKDIVISION_DIV1;
  htim2.Init.AutoReloadPreload = TIM_AUTORELOAD_PRELOAD_DISABLE;
  if (HAL_TIM_Base_Init(&htim2) != HAL_OK)
  {
    Error_Handler();
  }
  sClockSourceConfig.ClockSource = TIM_CLOCKSOURCE_INTERNAL;
  if (HAL_TIM_ConfigClockSource(&htim2, &sClockSourceConfig) != HAL_OK)
  {
    Error_Handler();
  }
  sMasterConfig.MasterOutputTrigger = TIM_TRGO_RESET;
  sMasterConfig.MasterSlaveMode = TIM_MASTERSLAVEMODE_DISABLE;
  if (HAL_TIMEx_MasterConfigSynchronization(&htim2, &sMasterConfig) != HAL_OK)
  {
    Error_Handler();
  }

}

static void MX_TIM3_Init(void)
{

  TIM_ClockConfigTypeDef sClockSourceConfig = {0};
  TIM_MasterConfigTypeDef sMasterConfig = {0};

  htim3.Instance = TIM3;
  htim3.Init.Prescaler = 0;
  htim3.Init.CounterMode = TIM_COUNTERMODE_UP;
  htim3.Init.Period = 8399;
  htim3.Init.ClockDivision = TIM_CLOCKDIVISION_DIV1;
  htim3.Init.AutoReloadPreload = TIM_AUTORELOAD_PRELOAD_DISABLE;
  if (HAL_TIM_Base_Init(&htim3) != HAL_OK)
  {
    Error_Handler();
  }
  sClockSourceConfig.ClockSource = TIM_CLOCKSOURCE_INTERNAL;
  if (HAL_TIM_ConfigClockSource(&htim3, &sClockSourceConfig) != HAL_OK)
  {
    Error_Handler();
  }
  sMasterConfig.MasterOutputTrigger = TIM_TRGO_RESET;
  sMasterConfig.MasterSlaveMode = TIM_MASTERSLAVEMODE_DISABLE;
  if (HAL_TIMEx_MasterConfigSynchronization(&htim3, &sMasterConfig) != HAL_OK)
  {
    Error_Handler();
  }

}

static void MX_USART2_UART_Init(void)
{

  huart2.Instance = USART2;
  huart2.Init.BaudRate = 115200;
  huart2.Init.WordLength = UART_WORDLENGTH_8B;
  huart2.Init.StopBits = UART_STOPBITS_1;
  huart2.Init.Parity = UART_PARITY_NONE;
  huart2.Init.Mode = UART_MODE_TX_RX;
  huart2.Init.HwFlowCtl = UART_HWCONTROL_NONE;
  huart2.Init.OverSampling = UART_OVERSAMPLING_16;
  if (HAL_UART_Init(&huart2) != HAL_OK)
  {
    Error_Handler();
  }

}

static void MX_USART3_UART_Init(void)
{

  huart3.Instance = USART3;
  huart3.Init.BaudRate = 9600;
  huart3.Init.WordLength = UART_WORDLENGTH_8B;
  huart3.Init.StopBits = UART_STOPBITS_1;
  huart3.Init.Parity = UART_PARITY_NONE;
  huart3.Init.Mode = UART_MODE_TX_RX;
  huart3.Init.HwFlowCtl = UART_HWCONTROL_NONE;
  huart3.Init.OverSampling = UART_OVERSAMPLING_16;
  if (HAL_UART_Init(&huart3) != HAL_OK)
  {
    Error_Handler();
  }

}

static void MX_USART6_UART_Init(void)
{

  huart6.Instance = USART6;
  huart6.Init.BaudRate = 9600;
  huart6.Init.WordLength = UART_WORDLENGTH_8B;
  huart6.Init.StopBits = UART_STOPBITS_1;
  huart6.Init.Parity = UART_PARITY_EVEN;
  huart6.Init.Mode = UART_MODE_TX_RX;
  huart6.Init.HwFlowCtl = UART_HWCONTROL_NONE;
  huart6.Init.OverSampling = UART_OVERSAMPLING_16;
  if (HAL_UART_Init(&huart6) != HAL_OK)
  {
    Error_Handler();
  }

}

static void MX_DMA_Init(void)
{

  /* DMA controller clock enable */
  __HAL_RCC_DMA1_CLK_ENABLE();
  __HAL_RCC_DMA2_CLK_ENABLE();

  /* DMA interrupt init */
  /* DMA1_Stream1_IRQn interrupt configuration */
  HAL_NVIC_SetPriority(DMA1_Stream1_IRQn, 5, 0);
  HAL_NVIC_EnableIRQ(DMA1_Stream1_IRQn);
  /* DMA1_Stream3_IRQn interrupt configuration */
  HAL_NVIC_SetPriority(DMA1_Stream3_IRQn, 5, 0);
  HAL_NVIC_EnableIRQ(DMA1_Stream3_IRQn);
  /* DMA2_Stream0_IRQn interrupt configuration */
  HAL_NVIC_SetPriority(DMA2_Stream0_IRQn, 5, 0);
  HAL_NVIC_EnableIRQ(DMA2_Stream0_IRQn);
  /* DMA2_Stream1_IRQn interrupt configuration */
  HAL_NVIC_SetPriority(DMA2_Stream1_IRQn, 5, 0);
  HAL_NVIC_EnableIRQ(DMA2_Stream1_IRQn);
  /* DMA2_Stream6_IRQn interrupt configuration */
  HAL_NVIC_SetPriority(DMA2_Stream6_IRQn, 5, 0);
  HAL_NVIC_EnableIRQ(DMA2_Stream6_IRQn);

}

static void MX_GPIO_Init(void)
{
  GPIO_InitTypeDef GPIO_InitStruct = {0};

  /* GPIO Ports Clock Enable */
  __HAL_RCC_GPIOE_CLK_ENABLE();
  __HAL_RCC_GPIOC_CLK_ENABLE();
  __HAL_RCC_GPIOH_CLK_ENABLE();
  __HAL_RCC_GPIOA_CLK_ENABLE();
  __HAL_RCC_GPIOB_CLK_ENABLE();
  __HAL_RCC_GPIOD_CLK_ENABLE();

  /*Configure GPIO pin Output Level */
  HAL_GPIO_WritePin(GPIOE, GPIO_PIN_2|GPIO_PIN_3|GPIO_PIN_4|GPIO_PIN_5
                          |GPIO_PIN_6|GPIO_PIN_15|GPIO_PIN_1, GPIO_PIN_RESET);

  /*Configure GPIO pin Output Level */
  HAL_GPIO_WritePin(GPIOC, GPIO_PIN_13|GPIO_PIN_1, GPIO_PIN_RESET);

  /*Configure GPIO pin Output Level */
  HAL_GPIO_WritePin(GPIOA, GPIO_PIN_0|GPIO_PIN_1, GPIO_PIN_RESET);

  /*Configure GPIO pin Output Level */
  HAL_GPIO_WritePin(GPIOB, GPIO_PIN_12|GPIO_PIN_5, GPIO_PIN_RESET);

  /*Configure GPIO pin Output Level */
  HAL_GPIO_WritePin(GPIOD, GPIO_PIN_10|GPIO_PIN_11, GPIO_PIN_RESET);

  /*Configure GPIO pin Output Level */
  HAL_GPIO_WritePin(GPIOC, GPIO_PIN_11, GPIO_PIN_SET);

  /*Configure GPIO pins : PE2 PE3 PE4 PE5
                           PE6 PE15 PE1 */
  GPIO_InitStruct.Pin = GPIO_PIN_2|GPIO_PIN_3|GPIO_PIN_4|GPIO_PIN_5
                          |GPIO_PIN_6|GPIO_PIN_15|GPIO_PIN_1;
  GPIO_InitStruct.Mode = GPIO_MODE_OUTPUT_PP;
  GPIO_InitStruct.Pull = GPIO_NOPULL;
  GPIO_InitStruct.Speed = GPIO_SPEED_FREQ_LOW;
  HAL_GPIO_Init(GPIOE, &GPIO_InitStruct);

  /*Configure GPIO pins : PC13 PC1 PC11 */
  GPIO_InitStruct.Pin = GPIO_PIN_13|GPIO_PIN_1|GPIO_PIN_11;
  GPIO_InitStruct.Mode = GPIO_MODE_OUTPUT_PP;
  GPIO_InitStruct.Pull = GPIO_NOPULL;
  GPIO_InitStruct.Speed = GPIO_SPEED_FREQ_LOW;
  HAL_GPIO_Init(GPIOC, &GPIO_InitStruct);

  /*Configure GPIO pins : PA0 PA1 */
  GPIO_InitStruct.Pin = GPIO_PIN_0|GPIO_PIN_1;
  GPIO_InitStruct.Mode = GPIO_MODE_OUTPUT_PP;
  GPIO_InitStruct.Pull = GPIO_NOPULL;
  GPIO_InitStruct.Speed = GPIO_SPEED_FREQ_LOW;
  HAL_GPIO_Init(GPIOA, &GPIO_InitStruct);

  /*Configure GPIO pins : PA4 PA5 PA6 PA7 */
  GPIO_InitStruct.Pin = GPIO_PIN_4|GPIO_PIN_5|GPIO_PIN_6|GPIO_PIN_7;
  GPIO_InitStruct.Mode = GPIO_MODE_INPUT;
  GPIO_InitStruct.Pull = GPIO_NOPULL;
  HAL_GPIO_Init(GPIOA, &GPIO_InitStruct);

  /*Configure GPIO pins : PC4 PC5 */
  GPIO_InitStruct.Pin = GPIO_PIN_4|GPIO_PIN_5;
  GPIO_InitStruct.Mode = GPIO_MODE_INPUT;
  GPIO_InitStruct.Pull = GPIO_NOPULL;
  HAL_GPIO_Init(GPIOC, &GPIO_InitStruct);

  /*Configure GPIO pins : PB0 PB1 */
  GPIO_InitStruct.Pin = GPIO_PIN_0|GPIO_PIN_1;
  GPIO_InitStruct.Mode = GPIO_MODE_INPUT;
  GPIO_InitStruct.Pull = GPIO_NOPULL;
  HAL_GPIO_Init(GPIOB, &GPIO_InitStruct);

  /*Configure GPIO pins : PE7 PE8 PE9 PE10
                           PE0 */
  GPIO_InitStruct.Pin = GPIO_PIN_7|GPIO_PIN_8|GPIO_PIN_9|GPIO_PIN_10
                          |GPIO_PIN_0;
  GPIO_InitStruct.Mode = GPIO_MODE_INPUT;
  GPIO_InitStruct.Pull = GPIO_NOPULL;
  HAL_GPIO_Init(GPIOE, &GPIO_InitStruct);

  /*Configure GPIO pins : PB12 PB5 */
  GPIO_InitStruct.Pin = GPIO_PIN_12|GPIO_PIN_5;
  GPIO_InitStruct.Mode = GPIO_MODE_OUTPUT_PP;
  GPIO_InitStruct.Pull = GPIO_NOPULL;
  GPIO_InitStruct.Speed = GPIO_SPEED_FREQ_LOW;
  HAL_GPIO_Init(GPIOB, &GPIO_InitStruct);

  /*Configure GPIO pins : PD10 PD11 */
  GPIO_InitStruct.Pin = GPIO_PIN_10|GPIO_PIN_11;
  GPIO_InitStruct.Mode = GPIO_MODE_OUTPUT_PP;
  GPIO_InitStruct.Pull = GPIO_PULLDOWN;
  GPIO_InitStruct.Speed = GPIO_SPEED_FREQ_LOW;
  HAL_GPIO_Init(GPIOD, &GPIO_InitStruct);

}

/* USER CODE BEGIN 4 */

void Callback_AT_Timer(void const * argument)
{

	read_rx_state = NOT_ACTIVE;

}

/* Callback_Ring_Center_Timer function */
void Callback_Ring_Center_Timer(void const * argument)
{

	//NVIC_SystemReset();
	m95_power_off();
	osTimerStart(Ring_Center_TimerHandle, 60000);// перезапускаем таймер перезагрузки

}

/* USER CODE END 4 */

void StartDefaultTask(void const * argument)
{
  /* USER CODE BEGIN 5 */
  /* Infinite loop */
  for(;;)
  {

	osMutexWait(Fm25v02MutexHandle, osWaitForever);

	//HAL_IWDG_Refresh(&hiwdg);
	//LED_VD3_TOGGLE();

	osMutexRelease(Fm25v02MutexHandle);

	osDelay(1000);

  }
  /* USER CODE END 5 */
}

void HAL_TIM_PeriodElapsedCallback(TIM_HandleTypeDef *htim)
{
  if (htim->Instance == TIM1) {
    HAL_IncTick();
  }
  /* USER CODE BEGIN Callback 1 */

	if(htim->Instance == TIM3) //check if the interrupt comes from TIM1
	{
		HAL_TIM_Base_Start_IT(&htim3);
		HAL_ADC_Start_DMA(&hadc1, (uint32_t*)data_in, 3);
		//LED_VD5_TOGGLE();

	}

	if(htim->Instance == TIM2)
	{
		TIM2->CNT = 0;

//----программа обработки кнопки 1----------------------------------------------

		if( HAL_GPIO_ReadPin(GPIOE, GPIO_PIN_7) == GPIO_PIN_RESET)
		{
			//spi_buf[0] = 1;
			if(key1_state<key_delay)
			{
				key1_state++;
			}
			else if(key1_state==key_delay)
			{
				key1_state++;
				key1_press_state = 1;

			}

			key1_off_state = 0;

		}
		else
		{

			if( (key1_state>5)&&(key1_state<key_delay) )
			{
				key1_state = 0;
				key1_on_state = 1;

				//key_speed = 0;
				key_delay = 200;
			}
			else if(key1_state>=key_delay)
			{
				key1_state = 0;

				//key_speed = 0;
				key_delay = 200;
			}
			//else if(key1_state == 0)
			//{
				//key_delay = 200;
			//}
			//else if(key1_state>0)
			//{
				//key_delay = 200;
			//}

			if(key1_off_state<20)
			{
				key1_off_state++;
				if(key1_off_state==20)
				{
					key_delay = 200;
				}
			}

		}

		if(key1_on_state == 1) // обработчик короткого нажатия кнопки 1
		{
			key1_on_state = 0; // обнуление состояния короткого нажатия на кнопку 1

			reset_display_time_state = 0;

			if(register_menu_state > 0)
			{
				if(register_content_menu_state == 0)
				{
					register_menu_state--;
					//reset_display_time_state = 0;
				}
				else if(register_content_menu_state == 2)
				{
					control_register_decrement_state = 1;
				}
			}

		}

		if(key1_press_state == 1) // обработчик длительного нажатия кнопки 1
		{
			key1_press_state = 0; // обнуление состояния длинного нажатия на кнопку 1

			reset_display_time_state = 0;

			if(register_menu_state > 0)
			{
				if(register_content_menu_state == 0)
				{
					register_menu_state--;

					if(key_delay>10)
					{
						key_delay = key_delay - 10;
					}

					//register_menu_state = register_menu_state - ( 1+(key_speed/10) );
				}
				else if(register_content_menu_state == 2)
				{
					control_register_decrement_state = 1;

					if(key_delay>5)
					{
						key_delay = key_delay - 5;
					}

				}
			}

			key1_state = 0;

		}

//----------------------------------------------------------------------------------

//----программа обработки кнопки 2----------------------------------------------

		if( HAL_GPIO_ReadPin(GPIOE, GPIO_PIN_8) == GPIO_PIN_RESET)
		{
			//spi_buf[0] = 2;
			if(key2_state<key_delay)
			{

				key2_state++;

			}
			else if(key2_state==key_delay)
			{
				key2_state++;
				key2_press_state = 1;
			}

			key2_off_state = 0;

		}
		else
		{
			if( (key2_state>5)&&(key2_state<key_delay) )
			{
				key2_state = 0;
				key2_on_state = 1;

				//key_speed = 0;
				key_delay = 200;
			}
			else if(key2_state>=key_delay)
			{
				key2_state = 0;

				//key_speed = 0;
				key_delay = 200;
			}
			//else if(key2_state == 0)
			//{
				//key_delay = 200;
			//}
			//else if(key2_state>0)
			//{
				//key_delay = 200;
			//}
			if(key2_off_state<20)
			{
				key2_off_state++;
				if(key2_off_state==20)
				{
					key_delay = 200;
				}
			}

		}

		if(key2_on_state == 1) // обработчик короткого нажатия кнопки 2
		{
			key2_on_state = 0; // обнуление состояния короткого нажатия на кнопку 2

			reset_display_time_state = 0;

			if(register_menu_state < MAX_MENU_NUMBER)
			{
				if(register_content_menu_state == 0)
				{
					register_menu_state++;

				}
				else if(register_content_menu_state == 2)
				{
					control_register_increment_state = 1;
				}
			}

		}
		if(key2_press_state == 1) // обработчик длительного нажатия кнопки 2
		{
			key2_press_state = 0; // обнуление состояния длинного нажатия на кнопку 2

			reset_display_time_state = 0;

			if(register_menu_state < MAX_MENU_NUMBER)
			{
				if(register_content_menu_state == 0)
				{
					register_menu_state++;

					if(key_delay>10)
					{
						key_delay = key_delay - 10;
					}

					//register_menu_state = register_menu_state + ( 1+(key_speed/10) );
				}
				else if(register_content_menu_state == 2)
				{
					control_register_increment_state = 1;

					if(key_delay>5)
					{
						key_delay = key_delay - 5;
					}

				}
			}

			key2_state = 0;
		}

//----------------------------------------------------------------------------------

		//----программа обработки кнопки 3----------------------------------------------

				if( HAL_GPIO_ReadPin(GPIOE, GPIO_PIN_9) == GPIO_PIN_RESET)
				{
					if(key3_state<2000)
					{

						key3_state++;

					}
					else if(key3_state==2000)
					{
						key3_state++;
						key3_press_state = 1;
					}
				}
				else
				{
					if( (key3_state>5)&&(key3_state<2000) )
					{
						key3_state = 0;
						key3_on_state = 1;
					}
					else if(key3_state>=2000)
					{
						key3_state = 0;
					}
				}

				if(key3_on_state == 1) // обработчик короткого нажатия кнопки 3
				{
					key3_on_state = 0; // обнуление состояния короткого нажатия на кнопку 3

					reset_display_time_state = 0;

					if(register_content_menu_state == 1)
					{
						register_content_menu_state--;
						//reset_display_time_state = 0;
					}
				}
				if(key3_press_state == 1) // обработчик длительного нажатия кнопки 3
				{
					key3_press_state = 0; // обнуление состояния длинного нажатия на кнопку 3
				}

		//----------------------------------------------------------------------------------

				//----программа обработки кнопки 4----------------------------------------------

						if( HAL_GPIO_ReadPin(GPIOE, GPIO_PIN_10) == GPIO_PIN_RESET)
						{
							if(key4_state<2000)
							{

								key4_state++;

							}
							else if(key4_state==2000)
							{
								key4_state++;
								key4_press_state = 1;
							}
						}
						else
						{
							if( (key4_state>5)&&(key4_state<2000) )
							{
								key4_state = 0;
								key4_on_state = 1;
							}
							else if(key4_state>=2000)
							{
								key4_state = 0;
							}
						}

						if(key4_on_state == 1) // обработчик короткого нажатия кнопки 4
						{
							key4_on_state = 0; // обнуление состояния короткого нажатия на кнопку 4

							reset_display_time_state = 0;

							if(register_content_menu_state == 0)
							{
								register_content_menu_state++;
								//reset_display_time_state = 0;
							}
						}
						if(key4_press_state == 1) // обработчик длительного нажатия кнопки 4
						{
							key4_press_state = 0; // обнуление состояния длинного нажатия на кнопку 4

							if( (register_content_menu_state == 1) && (register_menu_state >= Y1) && (register_menu_state <= MAX_B_NUMBER) )
							{
								register_content_menu_state = 2;
								//LED_VD4_ON();
							}

							else if( register_content_menu_state == 2 )
							{
								//register_content_menu_state = 1;
								control_register_save_state = 1;
								//LED_VD4_OFF();
							}
						}

				//----------------------------------------------------------------------------------

		if( reset_display_time_state < 30000)
		{
			reset_display_time_state++;
		}

		else if( reset_display_time_state == 30000)
		{
			register_content_menu_state = 0;
			register_menu_state = 0;
			reset_display_time_state = 30001;
		}

	}

  /* USER CODE END Callback 1 */
}

void Error_Handler(void)
{
  /* USER CODE BEGIN Error_Handler_Debug */

	NVIC_SystemReset();

  /* User can add his own implementation to report the HAL error return state */
  __disable_irq();
  while (1)
  {
  }
  /* USER CODE END Error_Handler_Debug */
}
